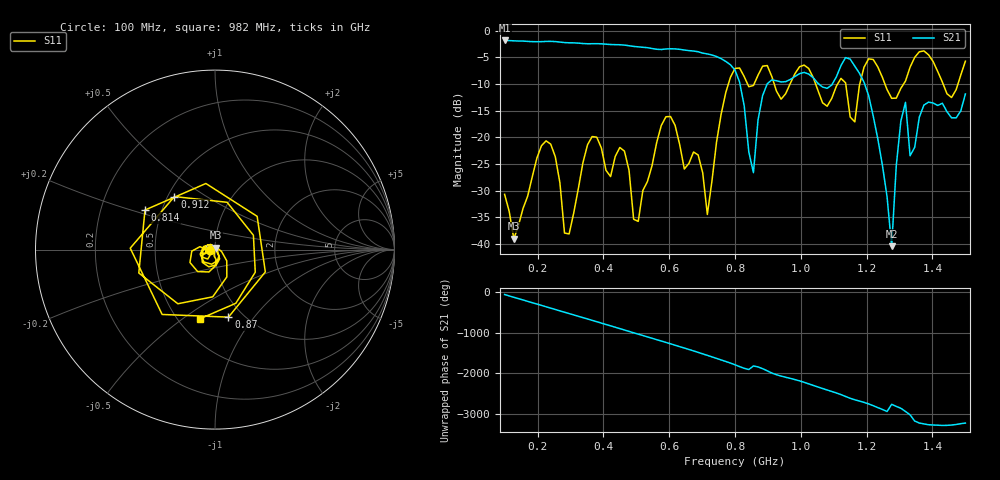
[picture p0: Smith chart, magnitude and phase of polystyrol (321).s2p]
! NanoVNA-App
! Date: 2025-09-25 15:32:23
! Start: 100MHz Stop: 1,5GHz Points: 101
! S-Parameter data: F S11 S21 S12 S22
# Hz S RI R 50
!  Frequency  S11_Real  S11_Imag  S21_Real  S21_Imag  S12_Real  S12_Imag  S22_Real  S22_Imag
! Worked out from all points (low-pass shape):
!   101 points, 100 MHz to 1.5 GHz, reference 50 ohm
!   highest |S21| = -1.80 dB at 100 MHz (marker M1); lowest = -40.4 dB at 1.276 GHz (marker M2)
!   |S21| within 3 dB of the highest: start of sweep to 743.1 MHz
!   lowest |S11| = -39.0 dB at 128 MHz (marker M3), VSWR 1.02, Z = 50.3 + j1.07 ohm
!   |S11| at or under -10 dB: start of sweep to 779.8 MHz; 1.045 GHz to 1.112 GHz (66.65 MHz wide, 6.18 % of centre); 1.256 GHz to 1.312 GHz (56.46 MHz wide, 4.4 % of centre) (the widest 3 of 7)
!   S12 and S22 are empty: the file has one direction only
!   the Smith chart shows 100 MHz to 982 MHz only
!   S11 on the Smith chart (normalised r, x): 100 MHz: 0.94, -0.01; 814 MHz: 0.40, +0.22; 870 MHz: 0.85, -0.75; 912 MHz: 0.54, +0.37; 982 MHz: 0.64, -0.58
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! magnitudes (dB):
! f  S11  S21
! 100 MHz  -30.7  -1.8
! 128 MHz  -39.0  -1.9
! 212 MHz  -21.6  -2.0
! 282 MHz  -38.0  -2.2
! 338 MHz  -24.8  -2.4
! 464 MHz  -22.6  -2.7
! 506 MHz  -35.8  -3.0
! 576 MHz  -17.8  -3.5
! 716 MHz  -34.5  -4.3
! 800 MHz  -7.1  -7.4
! 814 MHz  -7.0  -9.6
! 856 MHz  -10.3  -26.6
! 870 MHz  -8.3  -16.7
! 912 MHz  -8.6  -9.2
! 982 MHz  -8.1  -8.6
! 1.038 GHz  -8.8  -8.8
! 1.164 GHz  -17.1  -6.6
! 1.192 GHz  -6.8  -9.6
! 1.276 GHz  -12.7  -40.4
! 1.318 GHz  -9.4  -13.4
! 1.332 GHz  -6.8  -23.4
! 1.5 GHz  -5.7  -11.9
